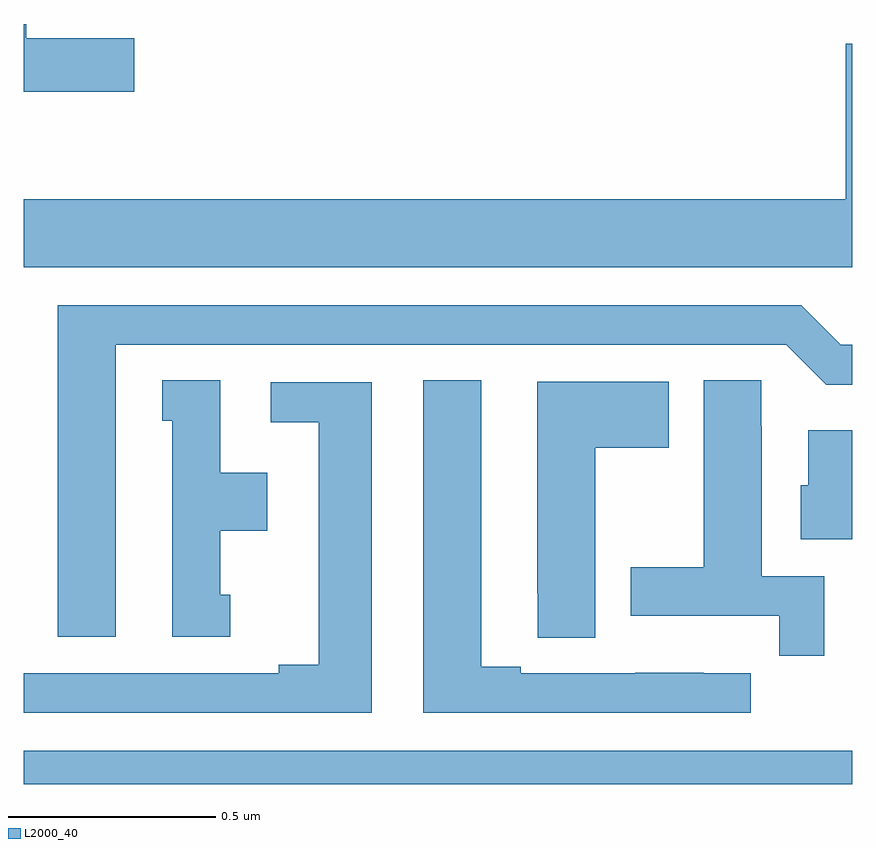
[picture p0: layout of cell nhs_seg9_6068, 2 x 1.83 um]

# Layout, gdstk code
import gdstk
lib = gdstk.Library(unit=1e-6, precision=1e-09)
def R(c, l, rs):  # rectangles x0, y0, x1, y1
    for r in rs: c.add(gdstk.rectangle(r[:2], r[2:], *l))
def P(c, l, *ps):  # polygons
    for p in ps: c.add(gdstk.Polygon(p, *l))
L2000_40 = (2000, 40)

nhs_seg9_6068 = lib.new_cell('nhs_seg9_6068')
R(nhs_seg9_6068, L2000_40, [(187,1200.5,189,1200.58)])
P(nhs_seg9_6068, L2000_40, [(187.267,1202.301),(187.006,1202.301),(187.006,1202.335),(187,1202.335),(187,1202.171),(187.267,1202.171)],
  [(189,1202.287),(188.984,1202.287),(188.984,1201.912),(187,1201.912),(187,1201.748),(189,1201.748)],
  [(187.222,1201.56),(188.841,1201.56),(188.937,1201.464),(189,1201.464),(189,1201.56),(188.973,1201.56),(188.877,1201.656),(187.082,1201.656),(187.082,1200.855),(187.222,1200.855)],
  [(188.755,1200.768),(188.642,1200.768),(188.642,1200.769),(188.476,1200.769),(188.476,1200.768),(188.2,1200.768),(188.2,1200.783),(188.104,1200.783),(188.104,1201.475),(187.964,1201.475),(187.964,1200.672),(188.755,1200.672)],
  [(187.498,1200.957),(187.474,1200.957),(187.474,1201.112),(187.588,1201.112),(187.588,1201.252),(187.474,1201.252),(187.474,1201.475),(187.334,1201.475),(187.334,1201.377),(187.358,1201.377),(187.358,1200.855),(187.498,1200.855)],
  [(188.933,1201.002),(188.782,1201.002),(188.782,1201.364),(188.781,1201.364),(188.781,1201.475),(188.642,1201.475),(188.642,1201.023),(188.465,1201.023),(188.465,1200.906),(188.824,1200.906),(188.824,1200.81),(188.933,1200.81)],
  [(188.38,1201.312),(188.557,1201.312),(188.557,1201.471),(188.24,1201.471),(188.24,1200.961),(188.241,1200.961),(188.241,1200.853),(188.38,1200.853)],
  [(187.84,1201.47),(187.596,1201.47),(187.596,1201.374),(187.712,1201.374),(187.712,1200.788),(187.616,1200.788),(187.616,1200.768),(187,1200.768),(187,1200.672),(187.84,1200.672)],
  [(189,1201.354),(188.894,1201.354),(188.894,1201.221),(188.876,1201.221),(188.876,1201.091),(189,1201.091)])

lib.write_gds('nhs_seg9_6068.gds')
